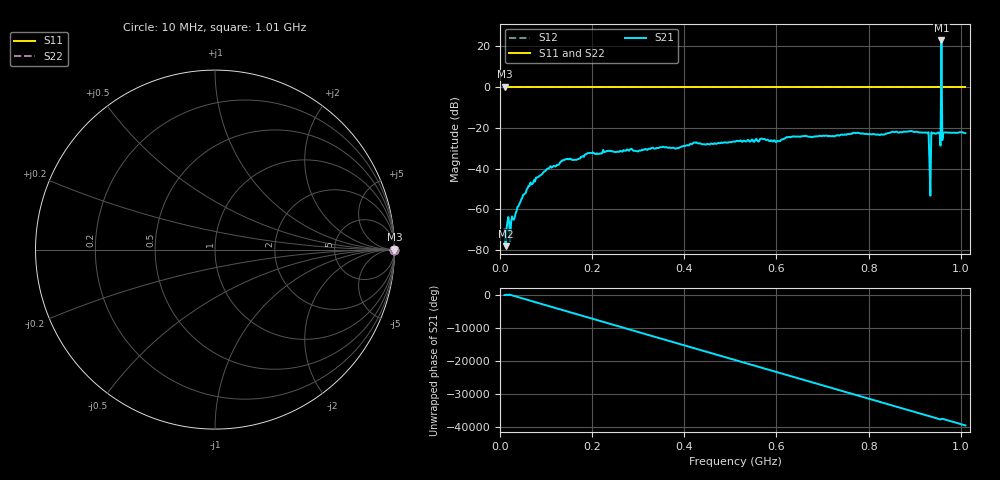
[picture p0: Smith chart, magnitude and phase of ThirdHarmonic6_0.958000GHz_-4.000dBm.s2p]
! 8/16/2025 7:02:54 AM
! C:\ANRITSUVNA\TEMP\TEMP.S2P
! CHANNEL.1
! TR.MEASUREMENT
! RAW.DATA
! RF.CORRECTION.OFF
! AVERAGING.OFF
! IF.BANDWIDTH: 5KHZ
! SWEEPTYPE:  FREQ.SWEEP(Linear)
! Reference Plane Port Info
! PORT:  PORT1  PORT2
! DISTANCE:  0  m  0  m
! TIME:  0  s  0  s
! PHASE.OFFSET:  0  deg.  0  deg.
! LOSS:  0  dB  0  dB
! REF.LOSS:  0  dB  0  dB
! REF.FREQ:  0  Hz  0  Hz
! Power Info
! POWER:  -20  dBm  -20  dBm
! EFF.POWER:  -20  dBm  -20  dBm
! SOURCE.ATTEN:  0  dB  0  dB
! TEST.ATTEN:  0  dB  0  dB
# GHZ S RI R 50.0
! FREQ.GHZ  S11RE  S11IM  S21RE  S21IM  S12RE  S12IM  S22RE  S22IM
!; PortSelection: Port_12
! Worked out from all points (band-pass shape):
!   501 points, 10 MHz to 1.01 GHz, reference 50 ohm
!   highest |S21| = 22.59 dB at 958 MHz (marker M1); lowest = -77.9 dB at 12 MHz (marker M2)
!   |S21| within 3 dB of the highest: 957.8832 MHz to 958.1233 MHz (240.1 kHz wide, 0.0251 % of centre)
!   lowest |S11| = 0.0 dB at 10 MHz (marker M3)
!   |S11| at or under -10 dB: nowhere
!   |S22| runs from 0.0 to 0.0 dB; largest |S21 - S12| = 13
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0.01  1 0  0.000255 -0.000199  1 0  1 0
0.012  1 0  5.66e-05 -0.000114  1 0  1 0
0.026  1 0  -0.000288 -0.000614  1 0  1 0
0.062  1 0  -0.00317 -0.00207  1 0  1 0
0.082  1 0  -0.00255 0.00564  1 0  1 0
0.138  1 0  0.0156 0.00259  1 0  1 0
0.178  1 0  -0.019 -0.00496  1 0  1 0
0.344  1 0  0.0314 -0.00443  1 0  1 0
0.51  1 0  -0.0438 0.011  1 0  1 0
0.678  1 0  -0.0194 -0.0552  1 0  1 0
0.844  1 0  0.0445 0.0589  1 0  1 0
0.926  1 0  0.0724 -0.0224  1 0  1 0
0.928  1 0  -0.00849 -0.0723  1 0  1 0
0.93  1 0  -0.0771 -0.00736  1 0  1 0
0.936  1 0  0.0391 -0.0662  1 0  1 0
0.94  1 0  -0.0554 0.0466  1 0  1 0
0.952  1 0  0.0713 0.0249  1 0  1 0
0.954  1 0  0.0364 -0.065  1 0  1 0
0.958  1 0  11.24 -7.421  1 0  1 0
0.962  1 0  0.0695 -0.0285  1 0  1 0
0.964  1 0  -0.0169 -0.0738  1 0  1 0
1.01  1 0  -0.0677 -0.0279  1 0  1 0
